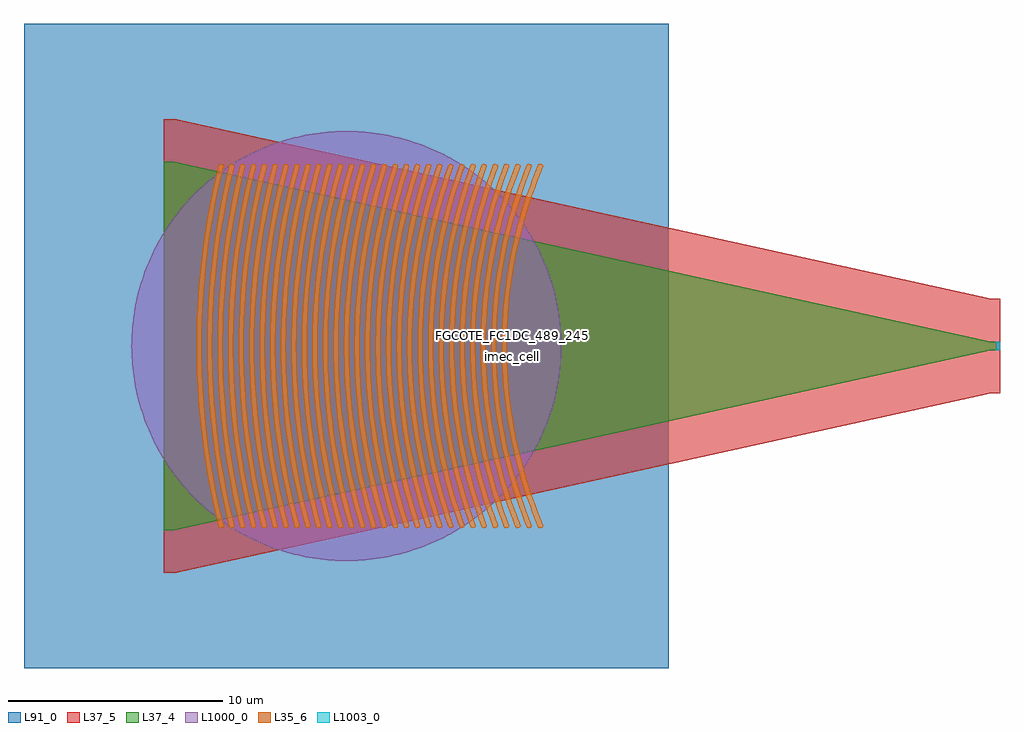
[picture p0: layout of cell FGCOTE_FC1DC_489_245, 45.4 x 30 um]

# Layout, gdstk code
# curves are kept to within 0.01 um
import gdstk
lib = gdstk.Library(unit=1e-6, precision=1e-09)
def R(c, l, rs):  # rectangles x0, y0, x1, y1
    for r in rs: c.add(gdstk.rectangle(r[:2], r[2:], *l))
def P(c, l, *ps):  # polygons
    for p in ps: c.add(gdstk.Polygon(p, *l))
L35_6 = (35, 6)
L37_4 = (37, 4)
L37_5 = (37, 5)
L91_0 = (91, 0)
L1000_0 = (1000, 0)
L1003_0 = (1003, 0)

fgcote_fc1dc_489_245 = lib.new_cell('FGCOTE_FC1DC_489_245')
P(fgcote_fc1dc_489_245, L35_6, [(9.006,-8.485),(8.928,-8.447),(8.785,-8.099),(8.516,-7.394),(8.272,-6.68),(7.952,-5.594),(7.689,-4.494),(7.484,-3.381),(7.337,-2.259),(7.249,-1.131),(7.22,0),(7.249,1.131),(7.337,2.259),(7.484,3.381),(7.689,4.494),(7.952,5.594),(8.272,6.68),(8.516,7.394),(8.785,8.099),(8.928,8.447),(9.006,8.485),(9.127,8.435),(9.155,8.353),(8.747,7.31),(8.393,6.249),(8.189,5.531),(8.009,4.807),(7.788,3.711),(7.671,2.974),(7.545,1.862),(7.478,0.746),(7.465,0),(7.478,-0.746),(7.545,-1.862),(7.671,-2.974),(7.788,-3.711),(8.009,-4.807),(8.189,-5.531),(8.393,-6.249),(8.747,-7.31),(9.155,-8.353),(9.127,-8.435)],
  [(8.478,-8.485),(8.4,-8.446),(8.12,-7.729),(7.864,-7.003),(7.528,-5.897),(7.25,-4.776),(7.031,-3.642),(6.871,-2.498),(6.771,-1.347),(6.731,-0.193),(6.751,0.962),(6.831,2.115),(6.971,3.261),(7.171,4.399),(7.429,5.525),(7.746,6.636),(7.989,7.367),(8.257,8.089),(8.4,8.446),(8.478,8.485),(8.599,8.436),(8.628,8.354),(8.22,7.286),(7.869,6.199),(7.575,5.094),(7.339,3.977),(7.213,3.225),(7.075,2.091),(6.996,0.952),(6.976,0.19),(6.996,-0.952),(7.042,-1.712),(7.161,-2.848),(7.273,-3.602),(7.49,-4.723),(7.764,-5.832),(7.98,-6.563),(8.22,-7.286),(8.628,-8.354),(8.599,-8.436)],
  [(7.951,-8.484),(7.874,-8.445),(7.731,-8.079),(7.463,-7.339),(7.221,-6.591),(6.907,-5.453),(6.653,-4.301),(6.459,-3.137),(6.326,-1.964),(6.271,-1.18),(6.241,0),(6.271,1.18),(6.326,1.964),(6.459,3.137),(6.653,4.301),(6.907,5.453),(7.221,6.591),(7.463,7.339),(7.731,8.079),(7.874,8.445),(7.951,8.484),(8.072,8.437),(8.102,8.355),(7.695,7.26),(7.345,6.146),(7.054,5.016),(6.823,3.872),(6.651,2.717),(6.57,1.943),(6.499,0.778),(6.486,0),(6.499,-0.778),(6.57,-1.943),(6.651,-2.717),(6.823,-3.872),(7.054,-5.016),(7.345,-6.146),(7.695,-7.26),(8.102,-8.355),(8.072,-8.437)],
  [(7.426,-8.484),(7.349,-8.444),(7.069,-7.691),(6.814,-6.928),(6.483,-5.768),(6.212,-4.593),(6.003,-3.405),(5.857,-2.208),(5.773,-1.005),(5.752,-0.201),(5.773,1.005),(5.857,2.208),(6.003,3.405),(6.212,4.593),(6.483,5.768),(6.814,6.928),(7.069,7.691),(7.349,8.444),(7.426,8.484),(7.547,8.437),(7.578,8.356),(7.171,7.233),(6.823,6.092),(6.535,4.933),(6.308,3.762),(6.142,2.58),(6.066,1.788),(6.018,0.994),(5.997,0.199),(6.004,-0.597),(6.066,-1.788),(6.142,-2.58),(6.308,-3.762),(6.535,-4.933),(6.823,-6.092),(7.171,-7.233),(7.578,-8.356),(7.547,-8.437)],
  [(6.903,-8.484),(6.826,-8.443),(6.545,-7.671),(6.291,-6.889),(5.961,-5.7),(5.694,-4.496),(5.491,-3.279),(5.351,-2.053),(5.276,-0.822),(5.262,0),(5.276,0.822),(5.351,2.053),(5.491,3.279),(5.694,4.496),(5.961,5.7),(6.291,6.889),(6.545,7.671),(6.826,8.443),(6.903,8.484),(7.024,8.438),(7.055,8.357),(6.648,7.205),(6.301,6.035),(6.016,4.848),(5.794,3.647),(5.68,2.841),(5.563,1.626),(5.521,0.814),(5.507,0),(5.521,-0.814),(5.563,-1.626),(5.68,-2.841),(5.794,-3.647),(6.016,-4.848),(6.301,-6.035),(6.648,-7.205),(7.055,-8.357),(7.024,-8.438)],
  [(6.38,-8.483),(6.304,-8.442),(6.029,-7.669),(5.78,-6.886),(5.457,-5.696),(5.196,-4.492),(4.997,-3.276),(4.86,-2.051),(4.786,-0.821),(4.772,0),(4.786,0.821),(4.86,2.051),(4.997,3.276),(5.196,4.492),(5.457,5.696),(5.78,6.886),(6.029,7.669),(6.304,8.442),(6.38,8.483),(6.503,8.439),(6.534,8.358),(6.135,7.204),(5.795,6.033),(5.516,4.845),(5.298,3.645),(5.187,2.839),(5.104,2.031),(5.031,0.813),(5.017,0),(5.031,-0.813),(5.104,-2.031),(5.187,-2.839),(5.298,-3.645),(5.516,-4.845),(5.795,-6.033),(6.135,-7.204),(6.534,-8.358),(6.503,-8.439)],
  [(5.86,-8.483),(5.784,-8.441),(5.508,-7.648),(5.259,-6.845),(4.938,-5.625),(4.68,-4.391),(4.485,-3.144),(4.392,-2.309),(4.305,-1.051),(4.284,-0.21),(4.305,1.051),(4.392,2.309),(4.485,3.144),(4.68,4.391),(4.938,5.625),(5.259,6.845),(5.508,7.648),(5.784,8.441),(5.86,8.483),(5.982,8.439),(6.014,8.359),(5.614,7.175),(5.381,6.376),(5.084,5.163),(4.85,3.937),(4.728,3.113),(4.6,1.871),(4.55,1.04),(4.529,0.208),(4.55,-1.04),(4.6,-1.871),(4.679,-2.7),(4.785,-3.525),(4.999,-4.755),(5.275,-5.973),(5.614,-7.175),(6.014,-8.359),(5.982,-8.439)],
  [(5.34,-8.483),(5.265,-8.44),(4.988,-7.626),(4.738,-6.802),(4.419,-5.55),(4.164,-4.284),(3.975,-3.006),(3.886,-2.15),(3.808,-0.861),(3.793,0),(3.808,0.861),(3.886,2.15),(3.975,3.006),(4.164,4.284),(4.419,5.55),(4.738,6.802),(4.988,7.626),(5.265,8.44),(5.34,8.483),(5.463,8.44),(5.496,8.36),(5.094,7.144),(4.756,5.911),(4.566,5.079),(4.336,3.821),(4.218,2.977),(4.13,2.129),(4.071,1.278),(4.038,0),(4.071,-1.278),(4.13,-2.129),(4.218,-2.977),(4.336,-3.821),(4.482,-4.661),(4.756,-5.911),(5.094,-7.144),(5.496,-8.36),(5.463,-8.44)],
  [(4.822,-8.483),(4.747,-8.44),(4.468,-7.603),(4.219,-6.757),(3.9,-5.472),(3.725,-4.607),(3.58,-3.737),(3.42,-2.423),(3.328,-1.103),(3.305,-0.221),(3.312,0.662),(3.381,1.983),(3.519,3.3),(3.649,4.173),(3.9,5.472),(4.219,6.757),(4.468,7.603),(4.747,8.44),(4.822,8.483),(4.945,8.44),(4.978,8.36),(4.702,7.53),(4.342,6.269),(4.049,4.992),(3.822,3.701),(3.709,2.834),(3.626,1.964),(3.573,1.092),(3.55,0.218),(3.557,-0.655),(3.595,-1.528),(3.709,-2.834),(3.822,-3.701),(4.049,-4.992),(4.342,-6.269),(4.702,-7.53),(4.978,-8.36),(4.945,-8.44)],
  [(4.305,-8.482),(4.23,-8.439),(3.957,-7.602),(3.712,-6.754),(3.496,-5.899),(3.227,-4.604),(3.025,-3.298),(2.928,-2.421),(2.86,-1.542),(2.815,-0.22),(2.838,1.102),(2.89,1.982),(3.025,3.298),(3.227,4.604),(3.399,5.469),(3.712,6.754),(3.957,7.602),(4.23,8.439),(4.305,8.482),(4.428,8.441),(4.462,8.361),(4.066,7.111),(3.838,6.268),(3.55,4.99),(3.328,3.699),(3.216,2.833),(3.135,1.963),(3.083,1.091),(3.06,0.218),(3.068,-0.655),(3.105,-1.528),(3.216,-2.833),(3.328,-3.699),(3.55,-4.99),(3.838,-6.268),(4.066,-7.111),(4.462,-8.361),(4.428,-8.441)],
  [(3.789,-8.482),(3.714,-8.438),(3.439,-7.578),(3.194,-6.707),(2.978,-5.829),(2.712,-4.499),(2.573,-3.606),(2.422,-2.258),(2.34,-0.904),(2.325,0),(2.34,0.904),(2.422,2.258),(2.573,3.606),(2.712,4.499),(2.978,5.829),(3.194,6.707),(3.439,7.578),(3.714,8.438),(3.789,8.482),(3.912,8.441),(3.947,8.362),(3.548,7.077),(3.217,5.775),(3.034,4.898),(2.816,3.572),(2.708,2.683),(2.631,1.79),(2.585,0.896),(2.57,0),(2.585,-0.896),(2.631,-1.79),(2.708,-2.683),(2.816,-3.572),(3.034,-4.898),(3.217,-5.775),(3.548,-7.077),(3.947,-8.362),(3.912,-8.441)],
  [(3.274,-8.482),(3.199,-8.438),(2.922,-7.553),(2.676,-6.658),(2.365,-5.301),(2.197,-4.388),(2.061,-3.47),(1.957,-2.548),(1.885,-1.623),(1.836,-0.232),(1.844,0.696),(1.917,2.086),(2.005,3.01),(2.197,4.388),(2.365,5.301),(2.676,6.658),(2.922,7.553),(3.199,8.438),(3.274,8.482),(3.397,8.442),(3.432,8.362),(3.157,7.484),(2.803,6.151),(2.605,5.253),(2.368,3.894),(2.248,2.982),(2.161,2.067),(2.105,1.149),(2.081,0.23),(2.089,-0.69),(2.129,-1.608),(2.201,-2.525),(2.304,-3.439),(2.518,-4.801),(2.7,-5.702),(3.032,-7.041),(3.432,-8.362),(3.397,-8.442)],
  [(2.76,-8.482),(2.685,-8.437),(2.413,-7.551),(2.171,-6.656),(1.96,-5.753),(1.701,-4.386),(1.568,-3.468),(1.465,-2.547),(1.394,-1.622),(1.347,-0.232),(1.355,0.695),(1.426,2.085),(1.512,3.008),(1.701,4.386),(1.866,5.299),(2.171,6.656),(2.413,7.551),(2.685,8.437),(2.76,8.482),(2.884,8.442),(2.919,8.363),(2.525,7.041),(2.301,6.149),(2.021,4.8),(1.873,3.892),(1.756,2.981),(1.67,2.066),(1.615,1.148),(1.592,0.23),(1.6,-0.689),(1.639,-1.607),(1.709,-2.524),(1.811,-3.437),(1.943,-4.347),(2.2,-5.701),(2.525,-7.041),(2.919,-8.363),(2.884,-8.442)],
  [(2.246,-8.481),(2.172,-8.436),(1.898,-7.525),(1.655,-6.604),(1.35,-5.208),(1.187,-4.269),(1.057,-3.326),(0.922,-1.904),(0.873,-0.952),(0.856,0),(0.873,0.952),(0.922,1.904),(1.004,2.853),(1.187,4.269),(1.35,5.208),(1.655,6.604),(1.898,7.525),(2.172,8.436),(2.246,8.481),(2.371,8.443),(2.406,8.364),(2.134,7.459),(1.784,6.086),(1.506,4.698),(1.361,3.765),(1.247,2.827),(1.166,1.887),(1.118,0.944),(1.101,0),(1.118,-0.944),(1.166,-1.887),(1.247,-2.827),(1.361,-3.765),(1.506,-4.698),(1.784,-6.086),(2.134,-7.459),(2.406,-8.364),(2.371,-8.443)],
  [(1.734,-8.481),(1.66,-8.436),(1.257,-7.024),(1.029,-6.072),(0.75,-4.63),(0.606,-3.662),(0.453,-2.201),(0.394,-1.224),(0.368,-0.245),(0.394,1.224),(0.453,2.201),(0.547,3.176),(0.674,4.146),(0.928,5.593),(1.139,6.549),(1.383,7.497),(1.66,8.436),(1.734,8.481),(1.858,8.443),(1.894,8.364),(1.619,7.432),(1.269,6.019),(1.076,5.068),(0.849,3.63),(0.697,2.182),(0.638,1.213),(0.613,0.243),(0.621,-0.728),(0.664,-1.698),(0.739,-2.665),(0.849,-3.63),(1.076,-5.068),(1.269,-6.019),(1.494,-6.963),(1.894,-8.364),(1.858,-8.443)],
  [(1.222,-8.481),(1.149,-8.435),(0.752,-7.023),(0.429,-5.591),(0.254,-4.628),(0.112,-3.66),(-0.038,-2.2),(-0.096,-1.223),(-0.121,-0.245),(-0.113,0.734),(-0.038,2.2),(0.054,3.174),(0.179,4.145),(0.337,5.11),(0.636,6.547),(0.877,7.496),(1.149,8.435),(1.222,8.481),(1.347,8.444),(1.383,8.365),(0.99,6.963),(0.768,6.018),(0.578,5.066),(0.355,3.628),(0.206,2.181),(0.148,1.212),(0.124,0.243),(0.132,-0.728),(0.173,-1.697),(0.248,-2.664),(0.355,-3.628),(0.578,-5.066),(0.768,-6.018),(0.99,-6.963),(1.383,-8.365),(1.347,-8.444)],
  [(0.711,-8.481),(0.638,-8.435),(0.238,-6.979),(0.013,-5.998),(-0.26,-4.513),(-0.399,-3.515),(-0.503,-2.514),(-0.595,-1.007),(-0.612,0),(-0.595,1.007),(-0.503,2.514),(-0.399,3.515),(-0.26,4.513),(0.013,5.998),(0.238,6.979),(0.638,8.435),(0.711,8.481),(0.836,8.444),(0.873,8.365),(0.6,7.404),(0.253,5.947),(-0.018,4.474),(-0.156,3.486),(-0.298,1.995),(-0.35,0.998),(-0.367,0),(-0.35,-0.998),(-0.298,-1.995),(-0.156,-3.486),(-0.018,-4.474),(0.253,-5.947),(0.6,-7.404),(0.873,-8.365),(0.836,-8.444)],
  [(0.201,-8.48),(0.128,-8.434),(-0.266,-6.978),(-0.487,-5.996),(-0.755,-4.511),(-0.892,-3.514),(-1.033,-2.011),(-1.084,-1.006),(-1.101,0),(-1.084,1.006),(-1.033,2.011),(-0.892,3.514),(-0.755,4.511),(-0.487,5.996),(-0.266,6.978),(0.128,8.434),(0.201,8.48),(0.326,8.444),(0.363,8.366),(0.095,7.404),(-0.247,5.946),(-0.433,4.966),(-0.648,3.485),(-0.75,2.492),(-0.818,1.496),(-0.856,0),(-0.818,-1.496),(-0.75,-2.492),(-0.648,-3.485),(-0.433,-4.966),(-0.247,-5.946),(-0.027,-6.92),(0.363,-8.366),(0.326,-8.444)],
  [(-0.308,-8.48),(-0.381,-8.433),(-0.779,-6.932),(-1.099,-5.411),(-1.268,-4.388),(-1.402,-3.361),(-1.5,-2.329),(-1.563,-1.295),(-1.59,-0.259),(-1.581,0.777),(-1.536,1.812),(-1.456,2.845),(-1.268,4.388),(-1.099,5.411),(-0.779,6.932),(-0.381,8.433),(-0.308,8.48),(-0.183,8.445),(-0.146,8.367),(-0.541,6.875),(-0.761,5.871),(-0.946,4.86),(-1.097,3.844),(-1.212,2.822),(-1.292,1.798),(-1.345,0.257),(-1.336,-0.771),(-1.292,-1.798),(-1.159,-3.333),(-1.026,-4.353),(-0.761,-5.871),(-0.541,-6.875),(-0.146,-8.367),(-0.183,-8.445)],
  [(-0.817,-8.48),(-0.89,-8.433),(-1.282,-6.93),(-1.5,-5.918),(-1.763,-4.387),(-1.895,-3.359),(-1.991,-2.328),(-2.053,-1.294),(-2.079,-0.259),(-2.053,1.294),(-1.991,2.328),(-1.895,3.359),(-1.763,4.387),(-1.5,5.918),(-1.282,6.93),(-0.89,8.433),(-0.817,8.48),(-0.692,8.445),(-0.654,8.367),(-0.922,7.374),(-1.156,6.373),(-1.442,4.859),(-1.59,3.843),(-1.703,2.821),(-1.782,1.797),(-1.834,0.257),(-1.826,-0.771),(-1.782,-1.797),(-1.651,-3.332),(-1.442,-4.859),(-1.26,-5.87),(-0.922,-7.374),(-0.654,-8.367),(-0.692,-8.445)],
  [(-1.325,-8.48),(-1.398,-8.432),(-1.794,-6.882),(-2.014,-5.837),(-2.275,-4.257),(-2.404,-3.197),(-2.496,-2.134),(-2.551,-1.067),(-2.57,0),(-2.551,1.067),(-2.496,2.134),(-2.404,3.197),(-2.275,4.257),(-2.014,5.837),(-1.794,6.882),(-1.398,8.432),(-1.325,8.48),(-1.2,8.446),(-1.162,8.368),(-1.433,7.343),(-1.669,6.31),(-1.869,5.27),(-2.101,3.698),(-2.252,2.117),(-2.307,1.059),(-2.325,0),(-2.307,-1.059),(-2.252,-2.117),(-2.101,-3.698),(-1.869,-5.27),(-1.669,-6.31),(-1.433,-7.343),(-1.162,-8.368),(-1.2,-8.446)],
  [(-1.833,-8.48),(-1.905,-8.432),(-2.296,-6.881),(-2.512,-5.835),(-2.693,-4.784),(-2.896,-3.196),(-2.987,-2.133),(-3.041,-1.067),(-3.059,0),(-3.041,1.067),(-2.987,2.133),(-2.896,3.196),(-2.693,4.784),(-2.512,5.835),(-2.296,6.881),(-1.905,8.432),(-1.833,8.48),(-1.707,8.446),(-1.669,8.368),(-2.057,6.827),(-2.271,5.79),(-2.45,4.746),(-2.594,3.697),(-2.702,2.644),(-2.774,1.588),(-2.814,0),(-2.774,-1.588),(-2.702,-2.644),(-2.594,-3.697),(-2.45,-4.746),(-2.271,-5.79),(-2.057,-6.827),(-1.669,-8.368),(-1.707,-8.446)],
  [(-2.34,-8.479),(-2.412,-8.431),(-2.808,-6.829),(-3.025,-5.749),(-3.205,-4.663),(-3.348,-3.571),(-3.452,-2.475),(-3.519,-1.376),(-3.548,-0.275),(-3.538,0.826),(-3.491,1.926),(-3.405,3.024),(-3.281,4.118),(-3.12,5.207),(-2.808,6.829),(-2.412,8.431),(-2.34,8.479),(-2.214,8.446),(-2.175,8.369),(-2.447,7.309),(-2.681,6.242),(-2.963,4.627),(-3.104,3.544),(-3.246,1.911),(-3.303,0.273),(-3.293,-0.819),(-3.246,-1.911),(-3.104,-3.544),(-2.963,-4.627),(-2.681,-6.242),(-2.447,-7.309),(-2.175,-8.369),(-2.214,-8.446)],
  [(-2.846,-8.479),(-2.919,-8.431),(-3.308,-6.828),(-3.523,-5.748),(-3.7,-4.662),(-3.84,-3.57),(-3.943,-2.474),(-4.009,-1.375),(-4.037,-0.275),(-4.028,0.825),(-3.981,1.925),(-3.897,3.023),(-3.775,4.116),(-3.523,5.748),(-3.308,6.828),(-2.919,8.431),(-2.846,8.479),(-2.721,8.446),(-2.681,8.369),(-2.949,7.309),(-3.282,5.704),(-3.458,4.626),(-3.597,3.543),(-3.736,1.91),(-3.792,0.273),(-3.764,-1.365),(-3.699,-2.455),(-3.597,-3.543),(-3.458,-4.626),(-3.282,-5.704),(-2.949,-7.309),(-2.681,-8.369),(-2.721,-8.446)],
  [(-3.353,-8.479),(-3.424,-8.43),(-3.566,-7.881),(-3.82,-6.773),(-4.036,-5.656),(-4.213,-4.533),(-4.35,-3.405),(-4.449,-2.272),(-4.508,-1.137),(-4.528,0),(-4.508,1.137),(-4.449,2.272),(-4.35,3.405),(-4.213,4.533),(-4.036,5.656),(-3.82,6.773),(-3.566,7.881),(-3.424,8.43),(-3.353,8.479),(-3.227,8.447),(-3.187,8.37),(-3.459,7.273),(-3.692,6.169),(-3.887,5.057),(-4.107,3.379),(-4.239,1.692),(-4.283,0),(-4.239,-1.692),(-4.107,-3.379),(-3.97,-4.499),(-3.692,-6.169),(-3.459,-7.273),(-3.187,-8.37),(-3.227,-8.447)],
  [(-3.858,-8.479),(-3.93,-8.43),(-4.32,-6.772),(-4.532,-5.655),(-4.707,-4.532),(-4.842,-3.404),(-4.939,-2.271),(-4.998,-1.136),(-5.017,0),(-4.998,1.136),(-4.939,2.271),(-4.842,3.404),(-4.707,4.532),(-4.532,5.655),(-4.32,6.772),(-3.93,8.43),(-3.858,8.479),(-3.732,8.447),(-3.692,8.37),(-4.08,6.722),(-4.291,5.613),(-4.464,4.499),(-4.599,3.379),(-4.729,1.691),(-4.772,0),(-4.729,-1.691),(-4.599,-3.379),(-4.464,-4.499),(-4.291,-5.613),(-4.08,-6.722),(-3.692,-8.37),(-3.732,-8.447)],
  [(-4.363,-8.479),(-4.435,-8.43),(-4.709,-7.288),(-4.831,-6.713),(-5.045,-5.557),(-5.219,-4.395),(-5.352,-3.227),(-5.444,-2.056),(-5.475,-1.469),(-5.505,-0.294),(-5.495,0.881),(-5.444,2.056),(-5.352,3.227),(-5.219,4.395),(-5.045,5.557),(-4.831,6.713),(-4.709,7.288),(-4.435,8.43),(-4.363,8.479),(-4.237,8.447),(-4.197,8.37),(-4.47,7.235),(-4.591,6.664),(-4.803,5.517),(-4.976,4.363),(-5.047,3.784),(-5.159,2.623),(-5.23,1.458),(-5.26,0.292),(-5.26,-0.292),(-5.23,-1.458),(-5.159,-2.623),(-5.108,-3.204),(-5.047,-3.784),(-4.895,-4.941),(-4.702,-6.091),(-4.47,-7.235),(-4.197,-8.37),(-4.237,-8.447)],
  [(-4.868,-8.479),(-4.939,-8.429),(-5.209,-7.287),(-5.44,-6.135),(-5.632,-4.976),(-5.783,-3.811),(-5.894,-2.641),(-5.965,-1.468),(-5.995,-0.294),(-5.985,0.881),(-5.934,2.055),(-5.843,3.226),(-5.712,4.394),(-5.541,5.556),(-5.33,6.712),(-5.079,7.86),(-4.939,8.429),(-4.868,8.479),(-4.742,8.448),(-4.701,8.371),(-4.841,7.803),(-5.09,6.664),(-5.299,5.516),(-5.469,4.362),(-5.65,2.622),(-5.72,1.458),(-5.75,0.292),(-5.75,-0.292),(-5.72,-1.458),(-5.65,-2.622),(-5.599,-3.203),(-5.469,-4.362),(-5.299,-5.516),(-5.09,-6.664),(-4.841,-7.803),(-4.701,-8.371),(-4.742,-8.448)],
  [(-5.372,-8.478),(-5.443,-8.429),(-5.829,-6.711),(-6.037,-5.555),(-6.206,-4.393),(-6.335,-3.225),(-6.425,-2.054),(-6.484,-0.294),(-6.474,0.881),(-6.425,2.054),(-6.335,3.225),(-6.206,4.393),(-6.037,5.555),(-5.829,6.711),(-5.443,8.429),(-5.372,8.478),(-5.246,8.448),(-5.205,8.371),(-5.343,7.803),(-5.588,6.663),(-5.795,5.516),(-5.963,4.361),(-6.091,3.202),(-6.18,2.04),(-6.23,0.875),(-6.239,0.292),(-6.23,-0.875),(-6.21,-1.457),(-6.091,-3.202),(-5.963,-4.361),(-5.795,-5.516),(-5.588,-6.663),(-5.343,-7.803),(-5.205,-8.371),(-5.246,-8.448)],
  [(-5.876,-8.478),(-5.947,-8.428),(-6.219,-7.244),(-6.339,-6.648),(-6.549,-5.45),(-6.717,-4.246),(-6.843,-3.036),(-6.928,-1.823),(-6.97,-0.608),(-6.975,0),(-6.97,0.608),(-6.928,1.823),(-6.843,3.036),(-6.717,4.246),(-6.549,5.45),(-6.339,6.648),(-6.219,7.244),(-5.947,8.428),(-5.876,8.478),(-5.749,8.448),(-5.709,8.372),(-5.979,7.193),(-6.208,6.008),(-6.396,4.815),(-6.474,4.216),(-6.599,3.015),(-6.683,1.811),(-6.725,0.604),(-6.73,0),(-6.725,-0.604),(-6.683,-1.811),(-6.599,-3.015),(-6.474,-4.216),(-6.396,-4.815),(-6.208,-6.008),(-5.979,-7.193),(-5.709,-8.372),(-5.749,-8.448)])
R(fgcote_fc1dc_489_245, L37_4, [(30,-0.19,30.2,0.19), (30.2,-0.19,30.4,0.19)])
P(fgcote_fc1dc_489_245, L37_4, [(-8,-8.577),(-8,8.577),(30,0.19),(30,-0.19)],
  [(-8.5,-8.602),(-8.5,8.602),(-8,8.577),(-8,-8.577)])
R(fgcote_fc1dc_489_245, L37_5, [(30,-2.19,30.2,2.19), (30.2,-2.19,30.4,2.19)])
P(fgcote_fc1dc_489_245, L37_5, [(-8,-10.577),(-8,10.577),(30,2.19),(30,-2.19)],
  [(-8,-10.577),(-8.5,-10.552),(-8.5,10.552),(-8,10.577)])
R(fgcote_fc1dc_489_245, L91_0, [(-15,-15,15,15)])
P(fgcote_fc1dc_489_245, L1000_0, [(0,-10),(-0.872,-9.962),(-1.392,-9.903),(-1.908,-9.816),(-2.756,-9.613),(-3.256,-9.455),(-3.746,-9.272),(-4.54,-8.91),(-5,-8.66),(-5.446,-8.387),(-5.878,-8.09),(-6.293,-7.771),(-6.691,-7.431),(-7.071,-7.071),(-7.431,-6.691),(-7.771,-6.293),(-8.09,-5.878),(-8.387,-5.446),(-8.66,-5),(-8.91,-4.54),(-9.272,-3.746),(-9.455,-3.256),(-9.613,-2.756),(-9.816,-1.908),(-9.903,-1.392),(-9.962,-0.872),(-10,0),(-9.962,0.872),(-9.903,1.392),(-9.816,1.908),(-9.613,2.756),(-9.455,3.256),(-9.272,3.746),(-8.91,4.54),(-8.66,5),(-8.387,5.446),(-8.09,5.878),(-7.771,6.293),(-7.431,6.691),(-7.071,7.071),(-6.691,7.431),(-6.293,7.771),(-5.878,8.09),(-5.446,8.387),(-5,8.66),(-4.54,8.91),(-3.746,9.272),(-3.256,9.455),(-2.756,9.613),(-1.908,9.816),(-1.392,9.903),(-0.872,9.962),(0,10),(0.872,9.962),(1.392,9.903),(1.908,9.816),(2.756,9.613),(3.256,9.455),(3.746,9.272),(4.54,8.91),(5,8.66),(5.446,8.387),(5.878,8.09),(6.293,7.771),(6.691,7.431),(7.071,7.071),(7.431,6.691),(7.771,6.293),(8.09,5.878),(8.387,5.446),(8.66,5),(8.91,4.54),(9.272,3.746),(9.455,3.256),(9.613,2.756),(9.816,1.908),(9.903,1.392),(9.962,0.872),(10,0),(9.962,-0.872),(9.903,-1.392),(9.816,-1.908),(9.613,-2.756),(9.455,-3.256),(9.272,-3.746),(8.91,-4.54),(8.66,-5),(8.387,-5.446),(8.09,-5.878),(7.771,-6.293),(7.431,-6.691),(7.071,-7.071),(6.691,-7.431),(6.293,-7.771),(5.878,-8.09),(5.446,-8.387),(5,-8.66),(4.54,-8.91),(3.746,-9.272),(3.256,-9.455),(2.756,-9.613),(1.908,-9.816),(1.392,-9.903),(0.872,-9.962)])
R(fgcote_fc1dc_489_245, L1003_0, [(30.2,-0.19,30.4,0.19)])
fgcote_fc1dc_489_245.add(gdstk.Label('FGCOTE_FC1DC_489_245', (7.7,0.5), layer=1002, texttype=0))
fgcote_fc1dc_489_245.add(gdstk.Label('ISIPP50G_2_3_0', (7.7,0), layer=1002, texttype=0))
fgcote_fc1dc_489_245.add(gdstk.Label('imec_cell', (7.7,-0.5), layer=1002, texttype=0))

lib.write_gds('FGCOTE_FC1DC_489_245.gds')
